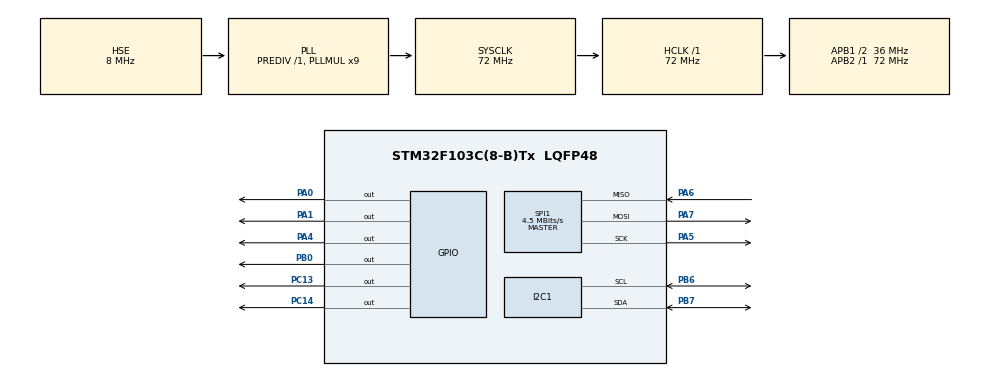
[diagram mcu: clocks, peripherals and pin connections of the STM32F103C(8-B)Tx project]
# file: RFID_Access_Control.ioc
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Mcu.Family=STM32F1
Mcu.Name=STM32F103C(8-B)Tx
Mcu.Package=LQFP48
NVIC.PriorityGroup=NVIC_PRIORITYGROUP_4
PA0.PinState=GPIO_PIN_RESET
PA0.Signal=GPIO_Output
PA1.PinState=GPIO_PIN_RESET
PA1.Signal=GPIO_Output
PA4.PinState=GPIO_PIN_SET
PA4.Signal=GPIO_Output
PA5.Mode=Full_Duplex_Master
PA5.Signal=SPI1_SCK
PA6.Mode=Full_Duplex_Master
PA6.Signal=SPI1_MISO
PA7.Mode=Full_Duplex_Master
PA7.Signal=SPI1_MOSI
PB0.PinState=GPIO_PIN_SET
PB0.Signal=GPIO_Output
PB6.Mode=I2C
PB6.Signal=I2C1_SCL
PB7.Mode=I2C
PB7.Signal=I2C1_SDA
PC13-TAMPER-RTC.Signal=GPIO_Output
PC14-OSC32_IN.Signal=GPIO_Output
PD0-OSC_IN.Mode=HSE-External-Oscillator
PD0-OSC_IN.Signal=RCC_OSC_IN
PD1-OSC_OUT.Mode=HSE-External-Oscillator
PD1-OSC_OUT.Signal=RCC_OSC_OUT
ProjectManager.HeapSize=0x200
ProjectManager.StackSize=0x400
ProjectManager.TargetToolchain=STM32CubeIDE
RCC.AHBFreq_Value=72000000
RCC.APB1CLKDivider=RCC_HCLK_DIV2
RCC.APB1Freq_Value=36000000
RCC.APB1TimFreq_Value=72000000
RCC.APB2Freq_Value=72000000
RCC.APB2TimFreq_Value=72000000
RCC.HCLKFreq_Value=72000000
RCC.PLLMUL=RCC_PLL_MUL9
RCC.PLLSourceVirtual=RCC_PLLSOURCE_HSE
RCC.SYSCLKFreq_VALUE=72000000
RCC.SYSCLKSource=RCC_SYSCLKSOURCE_PLLCLK
RCC.USBFreq_Value=72000000
SPI1.BaudRatePrescaler=SPI_BAUDRATEPRESCALER_16
SPI1.CalculateBaudRate=4.5 MBits/s
SPI1.Direction=SPI_DIRECTION_2LINES
SPI1.Mode=SPI_MODE_MASTER
SPI1.VirtualType=VM_MASTER
VP_SYS_VS_ND.Mode=No_Debug
board=custom

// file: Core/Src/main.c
/* USER CODE BEGIN Header */
/**
  ******************************************************************************
  * @file           : main.c
  * @brief          : Main program body
  ******************************************************************************
  * @attention
  *
  * Copyright (c) 2026 STMicroelectronics.
  * All rights reserved.
  *
  * This software is licensed under terms that can be found in the LICENSE file
  * in the root directory of this software component.
  * If no LICENSE file comes with this software, it is provided AS-IS.
  *
  ******************************************************************************
  */
/* USER CODE END Header */
#include "main.h"

/* USER CODE BEGIN Includes */
#include "mfrc522.h"
#include "ssd1306.h"
#include <stdio.h>
#include <string.h>
#include <stdbool.h>
/* USER CODE END Includes */

/* USER CODE BEGIN PD */
/*
 * ==============================================================================
 * RFID CONFIGURATION: AUTHORIZATION WHITELIST
 * ==============================================================================
 */
#define RFID_DISCOVERY_MODE         0

/* Authorized Card Structure */
typedef struct {
  uint8_t length;
  uint8_t bytes[MFRC522_MAX_UID_LEN];
  const char *label;
} AuthorizedCard_t;

/*
 * Whitelist of authorized RFID cards.
 * - Authorized Card:     67 46 49 64
 * - Unauthorized Card:   A1 B3 34 66 (explicitly not included, will be denied)
 * - Any unknown card:    Denied by default
 */
static const AuthorizedCard_t AUTHORIZED_WHITELIST[] = {
  {
    .length = 4,
    .bytes  = {0x67, 0x46, 0x49, 0x64},
    .label  = "Authorized Card"
  },
  /* Additional authorized cards can be appended here */
};

#define AUTHORIZED_CARD_COUNT (sizeof(AUTHORIZED_WHITELIST) / sizeof(AUTHORIZED_WHITELIST[0]))
/* USER CODE END PD */

I2C_HandleTypeDef hi2c1;

SPI_HandleTypeDef hspi1;

void SystemClock_Config(void);
static void MX_GPIO_Init(void);
static void MX_I2C1_Init(void);
static void MX_SPI1_Init(void);
/* USER CODE BEGIN PFP */
bool isAuthorized(const uint8_t *uid, uint8_t uidLength);
static void Format_UID_String(const MFRC522_Uid *uid, char *buf, size_t bufSize);
static void Show_Idle_Screen(void);
static void Show_Discovery_UID(const MFRC522_Uid *uid) __attribute__((unused));
static void Show_Access_Granted(const MFRC522_Uid *uid);
static void Show_Access_Denied(const MFRC522_Uid *uid);
static void Wait_For_Card_Removal(void);
static void LEDs_Init_State(void);
static void Blink_Green_LED(void);
static void Blink_Red_LED(void);
/* USER CODE END PFP */

/* USER CODE BEGIN 0 */
/**
  * @brief  Checks if a scanned RFID UID matches an authorized entry in the whitelist.
  * @param  uid: Pointer to array of UID bytes
  * @param  uidLength: Number of bytes in the UID
  * @retval true if authorized, false otherwise
  */
bool isAuthorized(const uint8_t *uid, uint8_t uidLength)
{
  if (uid == NULL || uidLength == 0) {
    return false;
  }

  for (size_t i = 0; i < AUTHORIZED_CARD_COUNT; i++) {
    /* Check UID length first */
    if (AUTHORIZED_WHITELIST[i].length == uidLength) {
      /* Compare every UID byte */
      bool match = true;
      for (uint8_t b = 0; b < uidLength; b++) {
        if (uid[b] != AUTHORIZED_WHITELIST[i].bytes[b]) {
          match = false;
          break;
        }
      }
      if (match) {
        return true; /* Exact match found */
      }
    }
  }

  return false; /* Deny all others by default */
}

static void Format_UID_String(const MFRC522_Uid *uid, char *buf, size_t bufSize)
{
  if (uid == NULL || buf == NULL || bufSize == 0) return;

  if (uid->size == 4) {
    snprintf(buf, bufSize, "%02X %02X %02X %02X",
             uid->uidByte[0], uid->uidByte[1], uid->uidByte[2], uid->uidByte[3]);
  } else if (uid->size == 7) {
    snprintf(buf, bufSize, "%02X %02X %02X %02X %02X %02X %02X",
             uid->uidByte[0], uid->uidByte[1], uid->uidByte[2], uid->uidByte[3],
             uid->uidByte[4], uid->uidByte[5], uid->uidByte[6]);
  } else {
    snprintf(buf, bufSize, "UID LEN %d", uid->size);
  }
}

static void Show_Idle_Screen(void)
{
  SSD1306_Clear();
  /* Rows 0-15: Yellow band on dual-color OLED */
  SSD1306_PrintCentered(3, "RFID SYSTEM", &Font_7x10, SSD1306_COLOR_WHITE);
  SSD1306_DrawLine(0, 15, 127, 15, SSD1306_COLOR_WHITE);
  /* Rows 16-63: Blue band */
  SSD1306_PrintCentered(36, "SCAN CARD", &Font_7x10, SSD1306_COLOR_WHITE);
  SSD1306_UpdateScreen();
}

static void Show_Discovery_UID(const MFRC522_Uid *uid)
{
  SSD1306_Clear();
  SSD1306_PrintCentered(4, "CARD DETECTED", &Font_7x10, SSD1306_COLOR_WHITE);

  if (uid->size == 4) {
    char hexLine[20];
    snprintf(hexLine, sizeof(hexLine), "%02X %02X %02X %02X",
             uid->uidByte[0], uid->uidByte[1], uid->uidByte[2], uid->uidByte[3]);
    SSD1306_PrintCentered(24, hexLine, &Font_7x10, SSD1306_COLOR_WHITE);
    SSD1306_PrintCentered(44, "UID: 4 BYTES", &Font_6x8, SSD1306_COLOR_WHITE);
  } else if (uid->size == 7) {
    char hexLine1[20];
    char hexLine2[20];
    snprintf(hexLine1, sizeof(hexLine1), "%02X %02X %02X %02X",
             uid->uidByte[0], uid->uidByte[1], uid->uidByte[2], uid->uidByte[3]);
    snprintf(hexLine2, sizeof(hexLine2), "%02X %02X %02X",
             uid->uidByte[4], uid->uidByte[5], uid->uidByte[6]);
    SSD1306_PrintCentered(20, hexLine1, &Font_7x10, SSD1306_COLOR_WHITE);
    SSD1306_PrintCentered(34, hexLine2, &Font_7x10, SSD1306_COLOR_WHITE);
    SSD1306_PrintCentered(48, "UID: 7 BYTES", &Font_6x8, SSD1306_COLOR_WHITE);
  } else {
    char lenLine[20];
    snprintf(lenLine, sizeof(lenLine), "LEN: %d BYTES", uid->size);
    SSD1306_PrintCentered(28, lenLine, &Font_7x10, SSD1306_COLOR_WHITE);
  }

  SSD1306_UpdateScreen();
}

static void Show_Access_Granted(const MFRC522_Uid *uid)
{
  SSD1306_Clear();
  /* Yellow band */
  SSD1306_PrintCentered(3, "CARD DETECTED", &Font_7x10, SSD1306_COLOR_WHITE);
  SSD1306_DrawLine(0, 15, 127, 15, SSD1306_COLOR_WHITE);

  /* Blue band */
  char uidStr[32];
  Format_UID_String(uid, uidStr, sizeof(uidStr));
  SSD1306_PrintCentered(20, uidStr, &Font_6x8, SSD1306_COLOR_WHITE);
  SSD1306_PrintCentered(34, "ACCESS GRANTED", &Font_7x10, SSD1306_COLOR_WHITE);
  SSD1306_PrintCentered(49, "WELCOME", &Font_7x10, SSD1306_COLOR_WHITE);
  SSD1306_UpdateScreen();
}

static void Show_Access_Denied(const MFRC522_Uid *uid)
{
  SSD1306_Clear();
  /* Yellow band */
  SSD1306_PrintCentered(3, "CARD DETECTED", &Font_7x10, SSD1306_COLOR_WHITE);
  SSD1306_DrawLine(0, 15, 127, 15, SSD1306_COLOR_WHITE);

  /* Blue band */
  char uidStr[32];
  Format_UID_String(uid, uidStr, sizeof(uidStr));
  SSD1306_PrintCentered(20, uidStr, &Font_6x8, SSD1306_COLOR_WHITE);
  SSD1306_PrintCentered(34, "ACCESS DENIED", &Font_7x10, SSD1306_COLOR_WHITE);
  SSD1306_PrintCentered(49, "UNAUTHORISED", &Font_7x10, SSD1306_COLOR_WHITE);
  SSD1306_UpdateScreen();
}

static void Wait_For_Card_Removal(void)
{
  /* While card is still on antenna, REQALL (WUPA) returns OK */
  uint32_t waitStart = HAL_GetTick();
  while (HAL_GetTick() - waitStart < 3000) {
    uint8_t atqa[2];
    if (MFRC522_Request(PICC_CMD_REQALL, atqa) != MFRC522_STATUS_OK) {
      break; /* Card physically lifted away */
    }
    /* Re-halt card so it stays quiet */
    MFRC522_Halt();
    HAL_Delay(80);
  }
}

/**
  * @brief  Initializes status LEDs to OFF state
  * @retval None
  */
static void LEDs_Init_State(void)
{
  HAL_GPIO_WritePin(LED_GREEN_PORT, LED_GREEN_PIN, GPIO_PIN_RESET);
  HAL_GPIO_WritePin(LED_RED_PORT, LED_RED_PIN, GPIO_PIN_RESET);
}

/**
  * @brief  Blinks Green LED three times (authorized access indication)
  * @retval None
  */
static void Blink_Green_LED(void)
{
  /* Ensure red LED is off and green starts off */
  HAL_GPIO_WritePin(LED_RED_PORT, LED_RED_PIN, GPIO_PIN_RESET);
  HAL_GPIO_WritePin(LED_GREEN_PORT, LED_GREEN_PIN, GPIO_PIN_RESET);

  /* Blink green LED 3 times: 150ms ON, 150ms OFF */
  for (uint8_t i = 0; i < 3; i++) {
    HAL_GPIO_WritePin(LED_GREEN_PORT, LED_GREEN_PIN, GPIO_PIN_SET);
    HAL_Delay(150);
    HAL_GPIO_WritePin(LED_GREEN_PORT, LED_GREEN_PIN, GPIO_PIN_RESET);
    HAL_Delay(150);
  }
}

/**
  * @brief  Blinks Red LED three times (unauthorized access indication)
  * @retval None
  */
static void Blink_Red_LED(void)
{
  /* Ensure green LED is off and red starts off */
  HAL_GPIO_WritePin(LED_GREEN_PORT, LED_GREEN_PIN, GPIO_PIN_RESET);
  HAL_GPIO_WritePin(LED_RED_PORT, LED_RED_PIN, GPIO_PIN_RESET);

  /* Blink red LED 3 times: 150ms ON, 150ms OFF */
  for (uint8_t i = 0; i < 3; i++) {
    HAL_GPIO_WritePin(LED_RED_PORT, LED_RED_PIN, GPIO_PIN_SET);
    HAL_Delay(150);
    HAL_GPIO_WritePin(LED_RED_PORT, LED_RED_PIN, GPIO_PIN_RESET);
    HAL_Delay(150);
  }
}
/* USER CODE END 0 */

int main(void)
{

  /* MCU Configuration--------------------------------------------------------*/

  /* Reset of all peripherals, Initializes the Flash interface and the Systick. */
  HAL_Init();

  /* Configure the system clock */
  SystemClock_Config();

  /* Initialize all configured peripherals */
  MX_GPIO_Init();
  MX_I2C1_Init();
  MX_SPI1_Init();
  /* USER CODE BEGIN 2 */
  /* Initialize status LEDs (both OFF initially) */
  LEDs_Init_State();

  /* 1. Initialise SSD1306 OLED Display */
  SSD1306_Status oledStatus = SSD1306_Init(&hi2c1);
  if (oledStatus == SSD1306_OK) {
    SSD1306_Clear();
    SSD1306_PrintCentered(3, "RFID SYSTEM", &Font_7x10, SSD1306_COLOR_WHITE);
    SSD1306_DrawLine(0, 15, 127, 15, SSD1306_COLOR_WHITE);
    SSD1306_PrintCentered(36, "STARTING...", &Font_7x10, SSD1306_COLOR_WHITE);
    SSD1306_UpdateScreen();
    HAL_Delay(400);
  }

  /* 2. Initialise MFRC522 RFID Reader */
  MFRC522_Status rfidStatus = MFRC522_Init(&hspi1);
  uint8_t versionReg = MFRC522_ReadVersion();

  /* Validate communication with RC522 */
  if (rfidStatus != MFRC522_STATUS_OK || versionReg == 0x00 || versionReg == 0xFF) {
    if (oledStatus == SSD1306_OK) {
      char verMsg[22];
      SSD1306_Clear();
      SSD1306_PrintCentered(12, "RFID SYSTEM", &Font_7x10, SSD1306_COLOR_WHITE);
      SSD1306_PrintCentered(28, "RC522 ERROR", &Font_7x10, SSD1306_COLOR_WHITE);
      snprintf(verMsg, sizeof(verMsg), "VER: 0x%02X", versionReg);
      SSD1306_PrintCentered(44, verMsg, &Font_7x10, SSD1306_COLOR_WHITE);
      SSD1306_UpdateScreen();
    }

    /* Bounded non-blocking retry loop every 2 seconds */
    uint32_t lastRetry = HAL_GetTick();
    while (versionReg == 0x00 || versionReg == 0xFF) {
      if (HAL_GetTick() - lastRetry >= 2000) {
        lastRetry = HAL_GetTick();
        rfidStatus = MFRC522_Init(&hspi1);
        versionReg = MFRC522_ReadVersion();
      }
    }
  }

  /* Both peripherals ready */
  if (oledStatus == SSD1306_OK) {
    SSD1306_Clear();
    SSD1306_PrintCentered(3, "RFID SYSTEM", &Font_7x10, SSD1306_COLOR_WHITE);
    SSD1306_DrawLine(0, 15, 127, 15, SSD1306_COLOR_WHITE);
    SSD1306_PrintCentered(36, "RFID READY", &Font_7x10, SSD1306_COLOR_WHITE);
    SSD1306_UpdateScreen();
    HAL_Delay(800);
    Show_Idle_Screen();
  }
  /* USER CODE END 2 */

  /* Infinite loop */
  /* USER CODE BEGIN WHILE */
  MFRC522_Uid scannedUid;

  while (1)
  {
    /* Check for presence of an RFID card */
    if (MFRC522_CheckCard(&scannedUid) == MFRC522_STATUS_OK)
    {
#if RFID_DISCOVERY_MODE
      /* Phase A: Discovery Mode - Display real UID on OLED */
      Show_Discovery_UID(&scannedUid);

      /* Card halt and cleanup */
      MFRC522_Halt();

      /* Display UID for approximately 2 seconds */
      HAL_Delay(2000);

      /* Wait until card is physically lifted away to prevent continuous triggers */
      Wait_For_Card_Removal();

      /* Return to idle prompt */
      Show_Idle_Screen();
#else
      /* Authorization Check */
      if (isAuthorized(scannedUid.uidByte, scannedUid.size)) {
        Show_Access_Granted(&scannedUid);
        MFRC522_Halt();
        /* Authorized UID (67 46 49 64): turn red LED off and blink green LED three times */
        Blink_Green_LED();
        HAL_Delay(1100);
      } else {
        Show_Access_Denied(&scannedUid);
        MFRC522_Halt();
        /* Unauthorized / Invalid UID: turn green LED off and blink red LED three times */
        Blink_Red_LED();
        HAL_Delay(1100);
      }

      /* When idle, both LEDs must remain off */
      LEDs_Init_State();

      /* Wait until card is physically lifted away to prevent repeated flickering */
      Wait_For_Card_Removal();

      /* Return to idle prompt */
      Show_Idle_Screen();
#endif
    }

    HAL_Delay(50);
    /* USER CODE END WHILE */

  }
}

void SystemClock_Config(void)
{
  RCC_OscInitTypeDef RCC_OscInitStruct = {0};
  RCC_ClkInitTypeDef RCC_ClkInitStruct = {0};

  /** Initializes the RCC Oscillators according to the specified parameters
  * in the RCC_OscInitTypeDef structure.
  */
  RCC_OscInitStruct.OscillatorType = RCC_OSCILLATORTYPE_HSE;
  RCC_OscInitStruct.HSEState = RCC_HSE_ON;
  RCC_OscInitStruct.HSEPredivValue = RCC_HSE_PREDIV_DIV1;
  RCC_OscInitStruct.HSIState = RCC_HSI_ON;
  RCC_OscInitStruct.PLL.PLLState = RCC_PLL_ON;
  RCC_OscInitStruct.PLL.PLLSource = RCC_PLLSOURCE_HSE;
  RCC_OscInitStruct.PLL.PLLMUL = RCC_PLL_MUL9;
  if (HAL_RCC_OscConfig(&RCC_OscInitStruct) != HAL_OK)
  {
    Error_Handler();
  }

  /** Initializes the CPU, AHB and APB buses clocks
  */
  RCC_ClkInitStruct.ClockType = RCC_CLOCKTYPE_HCLK|RCC_CLOCKTYPE_SYSCLK
                              |RCC_CLOCKTYPE_PCLK1|RCC_CLOCKTYPE_PCLK2;
  RCC_ClkInitStruct.SYSCLKSource = RCC_SYSCLKSOURCE_PLLCLK;
  RCC_ClkInitStruct.AHBCLKDivider = RCC_SYSCLK_DIV1;
  RCC_ClkInitStruct.APB1CLKDivider = RCC_HCLK_DIV2;
  RCC_ClkInitStruct.APB2CLKDivider = RCC_HCLK_DIV1;

  if (HAL_RCC_ClockConfig(&RCC_ClkInitStruct, FLASH_LATENCY_2) != HAL_OK)
  {
    Error_Handler();
  }
}

static void MX_I2C1_Init(void)
{

  hi2c1.Instance = I2C1;
  hi2c1.Init.ClockSpeed = 100000;
  hi2c1.Init.DutyCycle = I2C_DUTYCYCLE_2;
  hi2c1.Init.OwnAddress1 = 0;
  hi2c1.Init.AddressingMode = I2C_ADDRESSINGMODE_7BIT;
  hi2c1.Init.DualAddressMode = I2C_DUALADDRESS_DISABLE;
  hi2c1.Init.OwnAddress2 = 0;
  hi2c1.Init.GeneralCallMode = I2C_GENERALCALL_DISABLE;
  hi2c1.Init.NoStretchMode = I2C_NOSTRETCH_DISABLE;
  if (HAL_I2C_Init(&hi2c1) != HAL_OK)
  {
    Error_Handler();
  }

}

static void MX_SPI1_Init(void)
{

  /* SPI1 parameter configuration*/
  hspi1.Instance = SPI1;
  hspi1.Init.Mode = SPI_MODE_MASTER;
  hspi1.Init.Direction = SPI_DIRECTION_2LINES;
  hspi1.Init.DataSize = SPI_DATASIZE_8BIT;
  hspi1.Init.CLKPolarity = SPI_POLARITY_LOW;
  hspi1.Init.CLKPhase = SPI_PHASE_1EDGE;
  hspi1.Init.NSS = SPI_NSS_SOFT;
  hspi1.Init.BaudRatePrescaler = SPI_BAUDRATEPRESCALER_16;
  hspi1.Init.FirstBit = SPI_FIRSTBIT_MSB;
  hspi1.Init.TIMode = SPI_TIMODE_DISABLE;
  hspi1.Init.CRCCalculation = SPI_CRCCALCULATION_DISABLE;
  hspi1.Init.CRCPolynomial = 10;
  if (HAL_SPI_Init(&hspi1) != HAL_OK)
  {
    Error_Handler();
  }

}

static void MX_GPIO_Init(void)
{
  GPIO_InitTypeDef GPIO_InitStruct = {0};

  /* GPIO Ports Clock Enable */
  __HAL_RCC_GPIOC_CLK_ENABLE();
  __HAL_RCC_GPIOD_CLK_ENABLE();
  __HAL_RCC_GPIOA_CLK_ENABLE();
  __HAL_RCC_GPIOB_CLK_ENABLE();

  /*Configure GPIO pin Output Level */
  HAL_GPIO_WritePin(GPIOC, GPIO_PIN_13|GPIO_PIN_14, GPIO_PIN_RESET);

  /*Configure GPIO pin Output Level for Status LEDs (PA0=Green, PA1=Red, Initial LOW) */
  HAL_GPIO_WritePin(GPIOA, LED_GREEN_PIN|LED_RED_PIN, GPIO_PIN_RESET);

  /*Configure GPIO pin Output Level */
  HAL_GPIO_WritePin(GPIOA, GPIO_PIN_4, GPIO_PIN_SET);

  /*Configure GPIO pin Output Level */
  HAL_GPIO_WritePin(GPIOB, GPIO_PIN_0, GPIO_PIN_SET);

  /*Configure GPIO pins : PC13 PC14 */
  GPIO_InitStruct.Pin = GPIO_PIN_13|GPIO_PIN_14;
  GPIO_InitStruct.Mode = GPIO_MODE_OUTPUT_PP;
  GPIO_InitStruct.Pull = GPIO_NOPULL;
  GPIO_InitStruct.Speed = GPIO_SPEED_FREQ_LOW;
  HAL_GPIO_Init(GPIOC, &GPIO_InitStruct);

  /*Configure GPIO pins : PA0 (Green LED), PA1 (Red LED) */
  GPIO_InitStruct.Pin = LED_GREEN_PIN|LED_RED_PIN;
  GPIO_InitStruct.Mode = GPIO_MODE_OUTPUT_PP;
  GPIO_InitStruct.Pull = GPIO_NOPULL;
  GPIO_InitStruct.Speed = GPIO_SPEED_FREQ_LOW;
  HAL_GPIO_Init(GPIOA, &GPIO_InitStruct);

  /*Configure GPIO pin : PA4 */
  GPIO_InitStruct.Pin = GPIO_PIN_4;
  GPIO_InitStruct.Mode = GPIO_MODE_OUTPUT_PP;
  GPIO_InitStruct.Pull = GPIO_NOPULL;
  GPIO_InitStruct.Speed = GPIO_SPEED_FREQ_LOW;
  HAL_GPIO_Init(GPIOA, &GPIO_InitStruct);

  /*Configure GPIO pin : PB0 */
  GPIO_InitStruct.Pin = GPIO_PIN_0;
  GPIO_InitStruct.Mode = GPIO_MODE_OUTPUT_PP;
  GPIO_InitStruct.Pull = GPIO_NOPULL;
  GPIO_InitStruct.Speed = GPIO_SPEED_FREQ_LOW;
  HAL_GPIO_Init(GPIOB, &GPIO_InitStruct);

}

void Error_Handler(void)
{
  __disable_irq();
  while (1)
  {
  }
}
